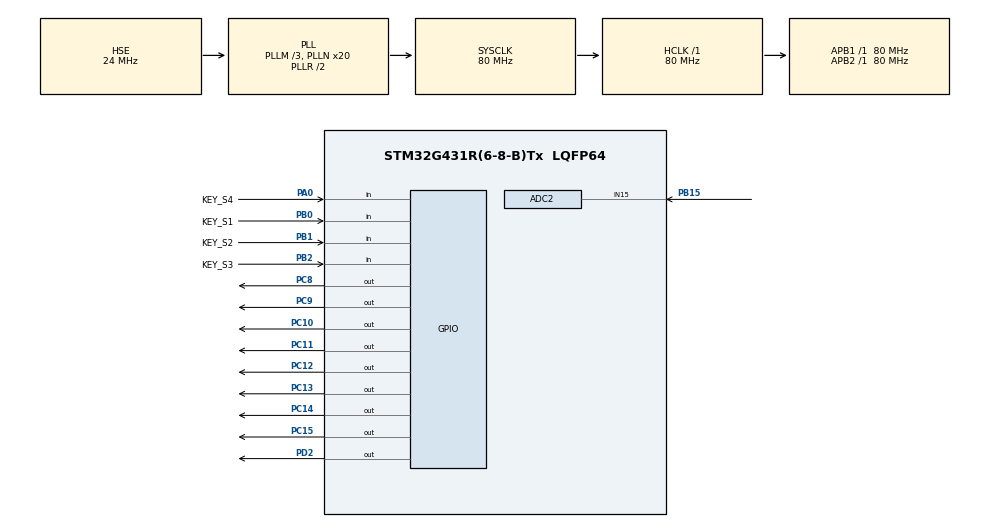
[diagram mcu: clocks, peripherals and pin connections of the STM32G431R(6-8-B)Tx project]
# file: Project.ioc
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ADC2.Channel-0\#ChannelRegularConversion=ADC_CHANNEL_15
ADC2.ContinuousConvMode=ENABLE
ADC2.NbrOfConversionFlag=1
ADC2.OffsetNumber-0\#ChannelRegularConversion=ADC_OFFSET_NONE
ADC2.Overrun=ADC_OVR_DATA_OVERWRITTEN
ADC2.Rank-0\#ChannelRegularConversion=1
ADC2.SamplingTime-0\#ChannelRegularConversion=ADC_SAMPLETIME_2CYCLES_5
Mcu.Family=STM32G4
Mcu.Name=STM32G431R(6-8-B)Tx
Mcu.Package=LQFP64
NVIC.PriorityGroup=NVIC_PRIORITYGROUP_4
NVIC.TIM1_TRG_COM_TIM17_IRQn=true\:1\:0\:true\:false\:true\:true\:true\:true
PA0.GPIO_Label=KEY_S4
PA0.Signal=GPIO_Input
PA13.Mode=Serial_Wire
PA13.Signal=SYS_JTMS-SWDIO
PA14.Mode=Serial_Wire
PA14.Signal=SYS_JTCK-SWCLK
PB0.GPIO_Label=KEY_S1
PB0.Signal=GPIO_Input
PB1.GPIO_Label=KEY_S2
PB1.Signal=GPIO_Input
PB15.Mode=IN15-Single-Ended
PB15.Signal=ADC2_IN15
PB2.GPIO_Label=KEY_S3
PB2.Signal=GPIO_Input
PC10.Signal=GPIO_Output
PC11.Signal=GPIO_Output
PC12.Signal=GPIO_Output
PC13.Signal=GPIO_Output
PC14-OSC32_IN.Signal=GPIO_Output
PC15-OSC32_OUT.Signal=GPIO_Output
PC8.Signal=GPIO_Output
PC9.Signal=GPIO_Output
PD2.Signal=GPIO_Output
PF0-OSC_IN.Mode=HSE-External-Oscillator
PF0-OSC_IN.Signal=RCC_OSC_IN
PF1-OSC_OUT.Mode=HSE-External-Oscillator
PF1-OSC_OUT.Signal=RCC_OSC_OUT
ProjectManager.HeapSize=0x0
ProjectManager.StackSize=0x1000
ProjectManager.TargetToolchain=MDK-ARM V5.32
RCC.ADC12Freq_Value=80000000
RCC.AHBFreq_Value=80000000
RCC.APB1Freq_Value=80000000
RCC.APB1TimFreq_Value=80000000
RCC.APB2Freq_Value=80000000
RCC.APB2TimFreq_Value=80000000
RCC.CortexFreq_Value=80000000
RCC.EXTERNAL_CLOCK_VALUE=12288000
RCC.HCLKFreq_Value=80000000
RCC.HSE_VALUE=24000000
RCC.HSI48_VALUE=48000000
RCC.HSI_VALUE=16000000
RCC.LSE_VALUE=32768
RCC.PLLM=RCC_PLLM_DIV3
RCC.PLLN=20
RCC.PLLSourceVirtual=RCC_PLLSOURCE_HSE
RCC.SYSCLKFreq_VALUE=80000000
RCC.SYSCLKSource=RCC_SYSCLKSOURCE_PLLCLK
RCC.USBFreq_Value=80000000
RCC.VCOOutputFreq_Value=160000000
TIM17.PeriodNoDither=9999
TIM17.Prescaler=79
VP_SYS_VS_DBSignals.Mode=DisableDeadBatterySignals
VP_TIM17_VS_ClockSourceINT.Mode=Enable_Timer
board=custom

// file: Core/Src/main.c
/* USER CODE BEGIN Header */
/**
  ******************************************************************************
  * @file           : main.c
  * @brief          : Main program body
  ******************************************************************************
  * @attention
  *
  * Copyright (c) 2025 STMicroelectronics.
  * All rights reserved.
  *
  * This software is licensed under terms that can be found in the LICENSE file
  * in the root directory of this software component.
  * If no LICENSE file comes with this software, it is provided AS-IS.
  *
  ******************************************************************************
  */
/* USER CODE END Header */
#include "main.h"
#include "adc.h"
#include "tim.h"
#include "gpio.h"

/* USER CODE BEGIN Includes */
#include "lcd.h"
#include "i2c_hal.h"

/* USER CODE END Includes */

/* USER CODE BEGIN PV */
uint8_t ledState  = 0x01;
uint8_t waitCnt   = 0xFF;
char plainKey[6]  = "* * *";
char cipherKey[6] = "0 1 2";
char tmpCipher[6] = "0 1 2";

/* USER CODE END PV */

void SystemClock_Config(void);
/* USER CODE BEGIN PFP */
char StairMap(void);
void LCD_ShowString(uint8_t Line, const char *format, ...);
void ROM_Write(uint8_t address, uint8_t data);
uint8_t ROM_Read(uint8_t address);
void Key_Process(uint8_t keyNum);

/* USER CODE END PFP */

/* USER CODE BEGIN 0 */
void HAL_TIM_PeriodElapsedCallback(TIM_HandleTypeDef *htim)
{
	if (htim == &htim17)
	{
		Key_Process(Key_Read());
	}
}

/* USER CODE END 0 */

int main(void)
{

  /* MCU Configuration--------------------------------------------------------*/

  /* Reset of all peripherals, Initializes the Flash interface and the Systick. */
  HAL_Init();

  /* Configure the system clock */
  SystemClock_Config();

  /* Initialize all configured peripherals */
  MX_GPIO_Init();
  MX_TIM17_Init();
  MX_ADC2_Init();
  /* USER CODE BEGIN 2 */
  LED_WR(ledState);
  LCD_Init();
  LCD_Clear(Black);
  LCD_SetBackColor(Black);
  LCD_SetTextColor(White);

  I2CInit();
//  ROM_Write(0x00, 0);
//  ROM_Write(0x01, 1);
//  ROM_Write(0x02, 2);
  cipherKey[0] = ROM_Read(0x00) + 48;
  cipherKey[2] = ROM_Read(0x01) + 48;
  cipherKey[4] = ROM_Read(0x02) + 48;
//  LCD_ShowString(Line9, "Hint: %s", cipherKey);

  HAL_ADC_Start(&hadc2);
  HAL_TIM_Base_Start_IT(&htim17);

  /* USER CODE END 2 */

  /* Infinite loop */
  while (1)
  {

  }
}

void SystemClock_Config(void)
{
  RCC_OscInitTypeDef RCC_OscInitStruct = {0};
  RCC_ClkInitTypeDef RCC_ClkInitStruct = {0};

  /** Configure the main internal regulator output voltage
  */
  HAL_PWREx_ControlVoltageScaling(PWR_REGULATOR_VOLTAGE_SCALE1);

  /** Initializes the RCC Oscillators according to the specified parameters
  * in the RCC_OscInitTypeDef structure.
  */
  RCC_OscInitStruct.OscillatorType = RCC_OSCILLATORTYPE_HSE;
  RCC_OscInitStruct.HSEState = RCC_HSE_ON;
  RCC_OscInitStruct.PLL.PLLState = RCC_PLL_ON;
  RCC_OscInitStruct.PLL.PLLSource = RCC_PLLSOURCE_HSE;
  RCC_OscInitStruct.PLL.PLLM = RCC_PLLM_DIV3;
  RCC_OscInitStruct.PLL.PLLN = 20;
  RCC_OscInitStruct.PLL.PLLP = RCC_PLLP_DIV2;
  RCC_OscInitStruct.PLL.PLLQ = RCC_PLLQ_DIV2;
  RCC_OscInitStruct.PLL.PLLR = RCC_PLLR_DIV2;
  if (HAL_RCC_OscConfig(&RCC_OscInitStruct) != HAL_OK)
  {
    Error_Handler();
  }

  /** Initializes the CPU, AHB and APB buses clocks
  */
  RCC_ClkInitStruct.ClockType = RCC_CLOCKTYPE_HCLK|RCC_CLOCKTYPE_SYSCLK
                              |RCC_CLOCKTYPE_PCLK1|RCC_CLOCKTYPE_PCLK2;
  RCC_ClkInitStruct.SYSCLKSource = RCC_SYSCLKSOURCE_PLLCLK;
  RCC_ClkInitStruct.AHBCLKDivider = RCC_SYSCLK_DIV1;
  RCC_ClkInitStruct.APB1CLKDivider = RCC_HCLK_DIV1;
  RCC_ClkInitStruct.APB2CLKDivider = RCC_HCLK_DIV1;

  if (HAL_RCC_ClockConfig(&RCC_ClkInitStruct, FLASH_LATENCY_2) != HAL_OK)
  {
    Error_Handler();
  }
}

/* USER CODE BEGIN 4 */
void LCD_ShowString(uint8_t Line, const char *format, ...)
{
	char str[21];
	va_list ap;
	va_start(ap, format);
	int xnum = vsnprintf(str, 21, format, ap);
	va_end(ap);
	while (xnum < 20) str[xnum++] = 32;
	LCD_DisplayStringLine(Line, (uint8_t *)str);
}

void ROM_Write(uint8_t address, uint8_t data)
{
	I2CStart();
	I2CSendByte(0xA0);
	I2CWaitAck();
	I2CSendByte(address);
	I2CWaitAck();
	I2CSendByte(data);
	I2CWaitAck();

	I2CStop();
}

uint8_t ROM_Read(uint8_t address)
{
	uint8_t data;

	I2CStart();
	I2CSendByte(0xA0);
	I2CWaitAck();
	I2CSendByte(address);
	I2CWaitAck();

	I2CStart();
	I2CSendByte(0xA1);
	I2CWaitAck();
	data = I2CReceiveByte();
	I2CSendNotAck();

	I2CStop();
	return data;
}

void Key_Process(uint8_t keyNum)
{
	static uint8_t keyIdx = 0;

	if (keyNum == 0x01 && (keyIdx += 2) == 6)
	{
		keyIdx = 0;
		if (ledState & 0x01)
		{
			if (!strcmp(plainKey, cipherKey))
			{
				ledState ^= 0x03, waitCnt = 1;
				strcpy(tmpCipher, "* * *");
			}
			strcpy(plainKey, "* * *");
		}
		else
		{
			ledState ^= 0x03;
			strcpy(cipherKey, tmpCipher);
			ROM_Write(0x00, cipherKey[0] - 48);
			ROM_Write(0x01, cipherKey[2] - 48);
			ROM_Write(0x02, cipherKey[4] - 48);
		}
	}

	static uint8_t timeCnt = 0;
	if (++timeCnt < 10) return;
	timeCnt = 0;

	if (ledState & 0x01) plainKey[keyIdx] = StairMap();
	else tmpCipher[keyIdx] = StairMap();

	if ((ledState & 0x01) || keyIdx > 0 || tmpCipher[0] != cipherKey[4]) waitCnt = 0;
	else if (waitCnt && ++waitCnt == 30) ledState ^= 0x03, strcpy(plainKey, tmpCipher);

	LED_WR(ledState);
	if (ledState & 0x01)
	{
		LCD_ShowString(Line1, "        Lock        ");
		LCD_ShowString(Line3, "      Pass Word     ");
		LCD_ShowString(Line4, "        %s", plainKey);
	}
	else
	{
		LCD_ShowString(Line1, "        Set         ");
		LCD_ShowString(Line3, "       Change       ");
		LCD_ShowString(Line4, "       %s", tmpCipher);
	}
}

char StairMap(void)
{
	uint16_t adcValue = ADC2->DR;
	if (adcValue <= 1861) return '0';
	if (adcValue <= 3102) return '1';
	return '2';
}

/* USER CODE END 4 */

void Error_Handler(void)
{
  __disable_irq();
  while (1)
  {
  }
}
